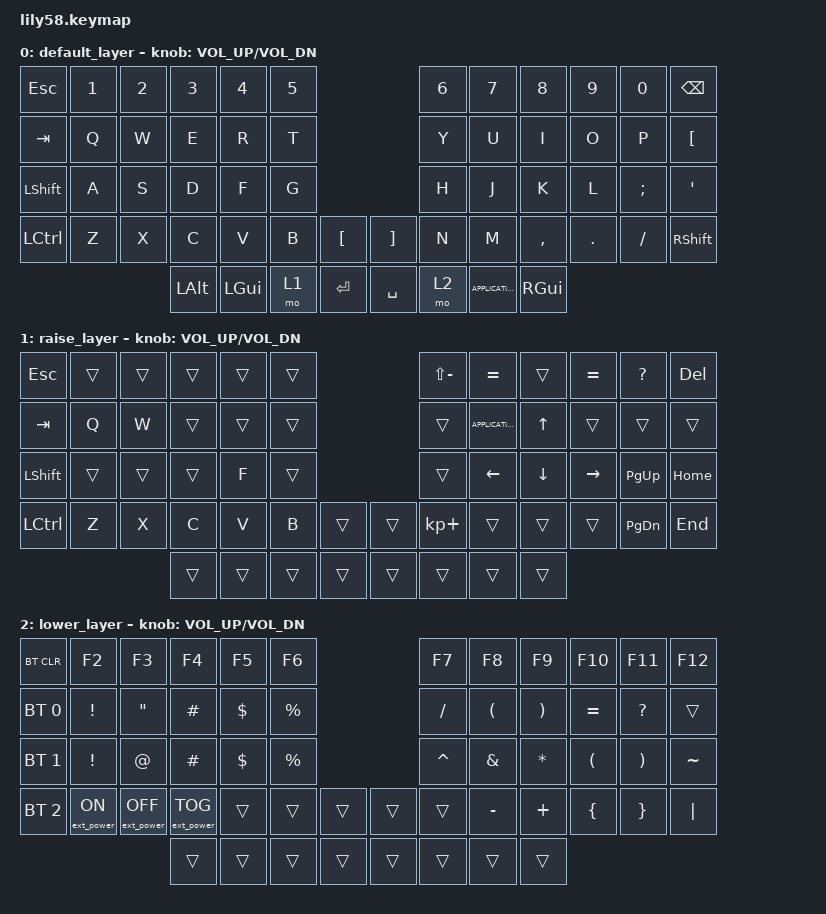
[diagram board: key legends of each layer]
/*
 * Copyright (c) 2020 The ZMK Contributors
 *
 * SPDX-License-Identifier: MIT
 */

#include <behaviors.dtsi>
#include <dt-bindings/zmk/bt.h>
#include <dt-bindings/zmk/ext_power.h>
#include <dt-bindings/zmk/keys.h>

/ {
    keymap {
        compatible = "zmk,keymap";

        default_layer {
            // ------------------------------------------------------------------------------------------------------------
            // |  ESC  |  1  |  2  |  3   |  4   |  5   |                   |  6   |  7    |  8    |  9   |   0   |   `   |
            // |  TAB  |  Q  |  W  |  E   |  R   |  T   |                   |  Y   |  U    |  I    |  O   |   P   |   -   |
            // |  CTRL |  A  |  S  |  D   |  F   |  G   |                   |  H   |  J    |  K    |  L   |   ;   |   '   |
            // | SHIFT |  Z  |  X  |  C   |  V   |  B   |   "["  |  |  "]"  |  N   |  M    |  ,    |  .   |   /   | SHIFT |
            //                     | ALT  | GUI  | LOWER|  SPACE |  | ENTER | RAISE| BSPC  | GUI   |

            bindings = <
&kp ESC           &kp N1  &kp N2  &kp N3    &kp N4    &kp N5                          &kp N6  &kp N7             &kp N8     &kp N9   &kp N0    &kp BACKSPACE
&kp TAB           &kp Q   &kp W   &kp E     &kp R     &kp T                           &kp Y   &kp U              &kp I      &kp O    &kp P     &kp LEFT_BRACKET
&kp LEFT_SHIFT    &kp A   &kp S   &kp D     &kp F     &kp G                           &kp H   &kp J              &kp K      &kp L    &kp SEMI  &kp SQT
&kp LEFT_CONTROL  &kp Z   &kp X   &kp C     &kp V     &kp B   &kp LBKT     &kp RBKT   &kp N   &kp M              &kp COMMA  &kp DOT  &kp FSLH  &kp RSHFT
                                  &kp LALT  &kp LGUI  &mo 1   &kp ENTER    &kp SPACE  &mo 2   &kp K_APPLICATION  &kp RGUI
            >;

            sensor-bindings = <&inc_dec_kp C_VOL_UP C_VOL_DN>;
        };

        raise_layer {
            // ------------------------------------------------------------------------------------------------------------
            // |       |     |     |      |      |      |                   |      |       |       |      |       |       |
            // |   `   |  1  |  2  |  3   |  4   |  5   |                   |  6   |   7   |   8   |  9   |   0   |       |
            // |   F1  |  F2 |  F3 |  F4  |  F5  |  F6  |                   |      |   <-  |   v   |  ^   |  ->   |       |
            // |   F7  |  F8 |  F9 |  F10 |  F11 |  F12 |        |  |       |  +   |   -   |   =   |  [   |   ]   |   \   |
            //                     |      |      |      |        |  |       |      |       |       |

            bindings = <
&kp ESC           &trans  &trans  &trans  &trans  &trans                    &kp LS(MINUS)  &kp EQUAL          &trans        &kp EQUAL  &kp QUESTION   &kp DELETE
&kp TAB           &kp Q   &kp W   &trans  &trans  &trans                    &trans         &kp K_APPLICATION  &kp UP_ARROW  &trans     &trans         &trans
&kp LEFT_SHIFT    &trans  &trans  &trans  &kp F   &trans                    &trans         &kp LEFT           &kp DOWN      &kp RIGHT  &kp PAGE_UP    &kp HOME
&kp LEFT_CONTROL  &kp Z   &kp X   &kp C   &kp V   &kp B   &trans    &trans  &kp KP_PLUS    &trans             &trans        &trans     &kp PAGE_DOWN  &kp END
                                  &trans  &trans  &trans  &trans    &trans  &trans         &trans             &trans
            >;

            sensor-bindings = <&inc_dec_kp C_VOL_UP C_VOL_DN>;
        };

        lower_layer {
            // ------------------------------------------------------------------------------------------------------------
            // | BTCLR | BT1 | BT2 |  BT3 |  BT4 |  BT5 |                   |      |       |       |      |       |       |
            // |  F1   |  F2 |  F3 |  F4  |  F5  |  F6  |                   |  F7  |  F8   |  F9   |  F10 |  F11  |  F12  |
            // |   `   |  !  |  @  |  #   |  $   |  %   |                   |  ^   |  &    |  *    |  (   |   )   |   ~   |
            // |       |     |     |      |      |      |        |  |       |      |  _    |  +    |  {   |   }   |  "|"  |
            //                     |      |      |      |        |  |       |      |       |       |

            bindings = <
&bt BT_CLR    &kp F2            &kp F3             &kp F4             &kp F5      &kp F6                         &kp F7     &kp F8                &kp F9                 &kp F10    &kp F11       &kp F12
&bt BT_SEL 0  &kp EXCLAMATION   &kp DOUBLE_QUOTES  &kp HASH           &kp DOLLAR  &kp PERCENT                    &kp SLASH  &kp LEFT_PARENTHESIS  &kp RIGHT_PARENTHESIS  &kp EQUAL  &kp QUESTION  &trans
&bt BT_SEL 1  &kp EXCL          &kp AT             &kp HASH           &kp DOLLAR  &kp PRCNT                      &kp CARET  &kp AMPS              &kp ASTRK              &kp LPAR   &kp RPAR      &kp TILDE
&bt BT_SEL 2  &ext_power EP_ON  &ext_power EP_OFF  &ext_power EP_TOG  &trans      &trans       &trans    &trans  &trans     &kp MINUS             &kp PLUS               &kp LBRC   &kp RBRC      &kp PIPE
                                                   &trans             &trans      &trans       &trans    &trans  &trans     &trans                &trans
            >;

            sensor-bindings = <&inc_dec_kp C_VOL_UP C_VOL_DN>;
        };
    };
};
